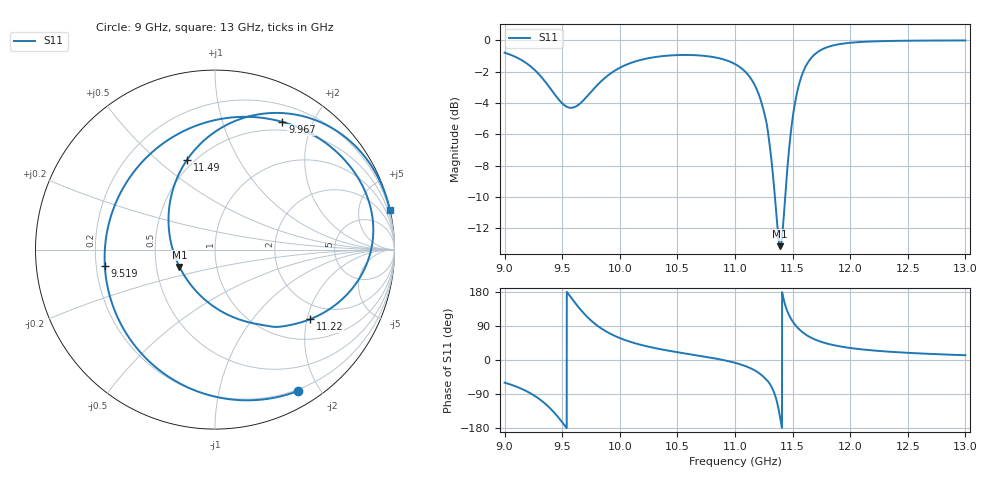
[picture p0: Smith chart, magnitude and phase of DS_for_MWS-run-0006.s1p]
! TOUCHSTONE file generated by CST DESIGN STUDIO
! Date and time: Tue Feb  4 17:20:12 2025
! Project name: C:\Work\MatlabApps\UnitCellOptimizationMatlab\CST\unitcell.cst
! Tree item: Tasks\Sweep1\SPara1\S-Parameters
! Header version: 2024
! Port assignment regex: !\s*Touchstone port\s*([0-9]+)\s*=\s*(CST MWS port|CST DES external port|CST DES block port)\s*(.+)\s* \(\"(.*)\"\)(\s*mode\s*([0-9]+))?.*
! Touchstone port assignment:
! Touchstone port 1 = CST DES external port 1 ("")
# GHz S MA R 50
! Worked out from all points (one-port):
!   4001 points, 9 GHz to 13 GHz, reference 50 ohm
!   lowest |S11| = -13.2 dB at 11.39 GHz (marker M1), VSWR 1.56, Z = 33 - j6.66 ohm
!   |S11| at or under -10 dB: 11.35 GHz to 11.44 GHz (89.36 MHz wide, 0.785 % of centre)
!   S11 on the Smith chart (normalised r, x): 9 GHz: 0.18, -1.73; 9.519 GHz: 0.24, -0.07; 9.967 GHz: 0.39, +1.59; 11.22 GHz: 1.53, -2.09; 11.49 GHz: 0.46, +0.63; 13 GHz: 0.03, +9.05
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9  0.913 -59.8
9.173  0.8533 -79.6
9.291  0.7841 -100.7
9.393  0.705 -126.9
9.5  0.6291 -164.2
9.519  0.6205 -171.7
9.61  0.6127 151.5
9.729  0.6707 110.2
9.833  0.7371 84.5
9.967  0.8046 62.1
10  0.8173 57.9
10.216  0.872 37.5
10.5  0.8973 20.5
10.783  0.8877 6.5
11  0.84 -7.4
11.122  0.7692 -20.0
11.216  0.6565 -36.2
11.315  0.4185 -69.7
11.393  0.22 -154.1
11.439  0.3287 141.7
11.489  0.5245 107.2
11.5  0.5637 101.9
11.582  0.7762 74.3
11.708  0.9122 52.4
11.832  0.9589 40.9
12  0.9824 31.7
12.5  0.9974 18.9
13  0.9992 12.6
